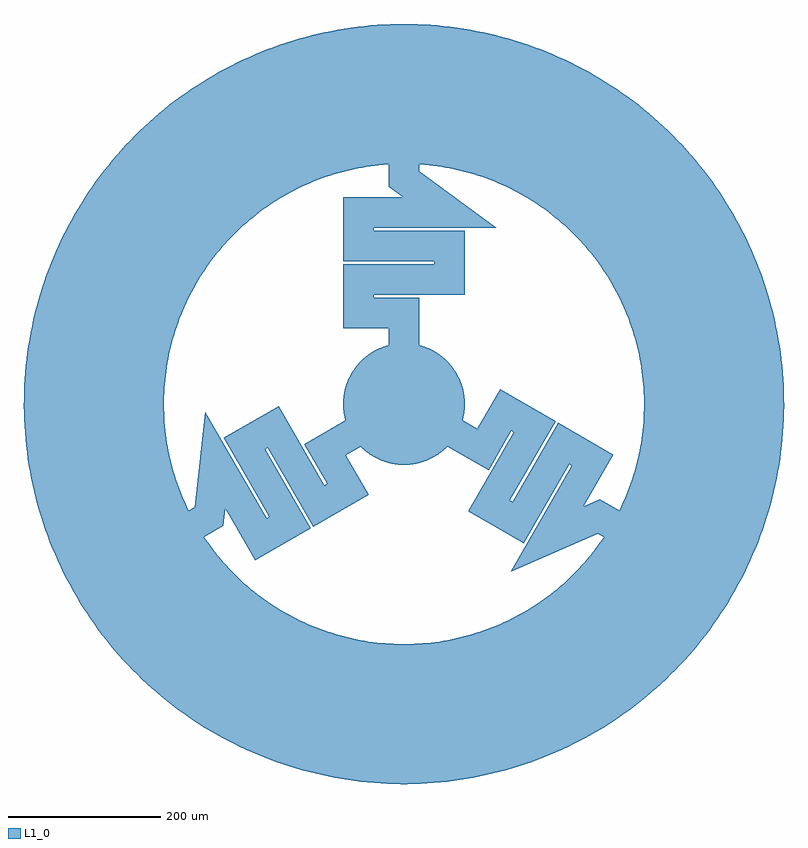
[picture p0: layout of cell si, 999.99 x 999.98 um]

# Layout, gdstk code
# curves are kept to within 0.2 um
import gdstk
lib = gdstk.Library(unit=1e-6, precision=1e-09)
def P(c, l, *ps):  # polygons
    for p in ps: c.add(gdstk.Polygon(p, *l))
L1_0 = (1, 0)

c_si = lib.new_cell('si')
P(c_si, L1_0, [(-0.7,-79.997),(-7.689,-79.63),(-15.993,-78.385),(-24.121,-76.277),(-30.696,-73.877),(-37.035,-70.911),(-44.264,-66.639),(-51.005,-61.632),(-57.184,-55.946),(-61.855,-50.735),(-66.832,-43.972),(-71.073,-36.724),(-74.531,-29.072),(-77.167,-21.1),(-78.716,-14.275),(-79.663,-7.34),(-79.993,1.05),(-79.595,8.037),(-78.314,16.336),(-76.171,24.455),(-73.188,32.304),(-69.398,39.798),(-65.655,45.711),(-60.502,52.341),(-55.696,57.428),(-49.369,62.95),(-43.679,67.024),(-37.654,70.585),(-30.048,74.143),(-22.111,76.884),(-13.93,78.778),(-6.992,79.694),(1.4,79.988),(9.777,79.4),(16.679,78.242),(24.788,76.063),(32.624,73.046),(40.101,69.224),(45.998,65.454),(52.605,60.272),(57.671,55.444),(63.165,49.093),(67.214,43.385),(71.391,36.101),(74.782,28.419),(76.98,21.774),(78.838,13.585),(79.724,6.643),(79.981,-1.75),(79.357,-10.124),(78.168,-17.021),(75.954,-25.121),(73.468,-31.663),(69.744,-39.189),(66.052,-45.134),(61.855,-50.735),(56.196,-56.939),(51.005,-61.632),(44.264,-66.639),(37.035,-70.911),(30.696,-73.877),(22.783,-76.687),(14.619,-78.653),(7.689,-79.63)],
  [(-4.375,-499.981),(-30.609,-499.062),(-56.759,-496.768),(-82.752,-493.105),(-99.958,-489.907),(-125.531,-483.985),(-150.759,-476.73),(-175.57,-468.161),(-199.898,-458.302),(-215.815,-451.025),(-239.188,-439.078),(-261.902,-425.92),(-283.894,-411.588),(-305.103,-396.121),(-325.472,-379.563),(-344.944,-361.959),(-357.4,-349.665),(-375.258,-330.426),(-392.082,-310.277),(-407.826,-289.272),(-417.699,-274.822),(-431.547,-252.522),(-440.12,-237.265),(-451.965,-213.839),(-462.565,-189.825),(-471.89,-165.287),(-479.914,-140.294),(-486.616,-114.914),(-491.976,-89.217),(-494.797,-71.945),(-497.891,-45.878),(-499.612,-19.685),(-499.957,6.563),(-499.421,24.056),(-498.273,41.519),(-495.408,67.612),(-492.738,84.908),(-487.603,110.651),(-483.432,127.648),(-476.066,152.843),(-470.426,169.41),(-464.209,185.77),(-453.819,209.876),(-446.196,225.63),(-433.74,248.736),(-424.769,263.763),(-410.341,285.692),(-400.092,299.878),(-387.462,316),(0,316),(-16.584,315.565),(-38.617,313.631),(-55.024,311.173),(-76.656,306.561),(-92.639,302.116),(-113.545,294.896),(-133.895,286.231),(-148.733,278.809),(-163.16,270.619),(-181.69,258.543),(-195.009,248.652),(-211.924,234.402),(-227.802,219.003),(-238.981,206.746),(-252.858,189.523),(-262.456,175.991),(-274.124,157.201),(-281.996,142.598),(-291.28,122.523),(-297.309,107.067),(-304.07,86.008),(-308.165,69.931),(-312.302,48.204),(-314.401,31.747),(-315.852,9.677),(-315.924,-6.913),(-314.667,-28.995),(-312.712,-45.469),(-308.765,-67.232),(-304.811,-83.344),(-300.017,-99.226),(-292.341,-119.969),(-283.233,-140.125),(-275.489,-154.796),(-263.986,-173.688),(-254.507,-187.303),(-240.781,-204.647),(-229.709,-217.001),(-218.004,-228.758),(-201.469,-243.447),(-188.414,-253.685),(-170.208,-266.243),(-151.167,-277.497),(-136.395,-285.048),(-116.122,-293.891),(-100.538,-299.58),(-84.677,-304.444),(-63.173,-309.621),(-41.361,-313.282),(-24.862,-315.02),(-2.765,-315.988),(13.822,-315.698),(30.371,-314.537),(52.299,-311.642),(68.582,-308.468),(89.992,-302.915),(105.765,-297.775),(126.336,-289.647),(146.287,-280.1),(160.786,-272.037),(174.841,-263.224),(192.825,-250.349),(209.865,-236.247),(221.974,-224.907),(233.472,-212.948),(244.326,-200.401),(254.507,-187.303),(263.986,-173.688),(272.738,-159.594),(280.737,-145.06),(287.964,-130.127),(294.396,-114.835),(300.017,-99.226),(303.306,-88.666),(307.541,-72.625),(310.929,-56.385),(313.459,-39.989),(315.126,-23.483),(315.924,-6.913),(315.852,9.677),(314.909,26.24),(313.098,42.731),(310.423,59.104),(306.894,75.314),(302.518,91.316),(297.309,107.067),(291.28,122.523),(284.449,137.641),(276.833,152.38),(271.331,161.974),(262.456,175.991),(252.858,189.523),(242.563,202.532),(231.6,214.983),(219.998,226.841),(207.79,238.075),(190.627,252.026),(172.531,264.743),(153.589,276.164),(138.884,283.844),(128.866,288.53),(108.367,296.838),(87.338,303.691),(71.279,307.856),(60.462,310.162),(38.617,313.631),(16.584,315.565),(0,316),(-387.462,316),(-378.135,327.13),(-366.455,340.163),(-348.098,358.926),(-328.781,376.7),(-308.558,393.436),(-287.485,409.087),(-272.992,418.898),(-258.165,428.195),(-235.337,441.154),(-211.86,452.897),(-187.799,463.391),(-163.221,472.609),(-138.193,480.523),(-112.783,487.114),(-87.063,492.362),(-69.779,495.107),(-52.409,497.246),(-26.241,499.311),(0,500),(17.498,499.694),(43.699,498.087),(69.779,495.107),(95.667,490.763),(121.291,485.065),(146.581,478.031),(171.467,469.68),(195.88,460.034),(211.86,452.897),(235.337,441.154),(258.165,428.195),(280.281,414.056),(294.6,403.994),(315.396,387.976),(335.323,370.888),(354.326,352.779),(372.352,333.697),(389.352,313.696),(405.279,292.83),(415.278,278.467),(429.321,256.289),(442.179,233.404),(453.819,209.876),(464.209,185.77),(473.318,161.151),(481.124,136.089),(487.603,110.651),(491.176,93.519),(495.408,67.612),(498.273,41.519),(499.421,24.056),(499.995,-2.188),(499.191,-28.425),(497.012,-54.584),(494.797,-71.945),(490.339,-97.813),(486.616,-114.914),(479.914,-140.294),(471.89,-165.287),(462.565,-189.825),(451.965,-213.839),(440.12,-237.265),(427.061,-260.036),(412.826,-282.09),(402.701,-296.365),(386.592,-317.091),(369.418,-336.943),(351.225,-355.866),(332.065,-373.809),(311.989,-390.721),(291.054,-406.556),(269.316,-421.271),(254.408,-430.438),(231.467,-443.196),(207.888,-454.733),(183.737,-465.017),(159.079,-474.019),(142.392,-479.296),(117.042,-486.108),(91.369,-491.581),(65.444,-495.699),(39.339,-498.45),(13.125,-499.828)])
c_si.add(gdstk.FlexPath([(0,0),(0,120),(-60,120),(-60,164),(60,164),(60,208),(-60,208),(-60,252),(60,252),(60,252),(0,296),(0,316)], 40, ends="flush", simple_path=True, layer=1, datatype=0))  # L1_0
c_si.add(gdstk.FlexPath([(0,0),(-103.923,-60),(-73.923,-111.962),(-112.028,-133.962),(-172.028,-30.038),(-210.133,-52.038),(-150.133,-155.962),(-188.238,-177.962),(-248.238,-74.038),(-248.238,-74.038),(-256.344,-148),(-273.664,-158)], 40, ends="flush", simple_path=True, layer=1, datatype=0))  # L1_0
c_si.add(gdstk.FlexPath([(0,0),(103.923,-60),(133.923,-8.038),(172.028,-30.038),(112.028,-133.962),(150.133,-155.962),(210.133,-52.038),(248.238,-74.038),(188.238,-177.962),(188.238,-177.962),(256.344,-148),(273.664,-158)], 40, ends="flush", simple_path=True, layer=1, datatype=0))  # L1_0

lib.write_gds('si.gds')
